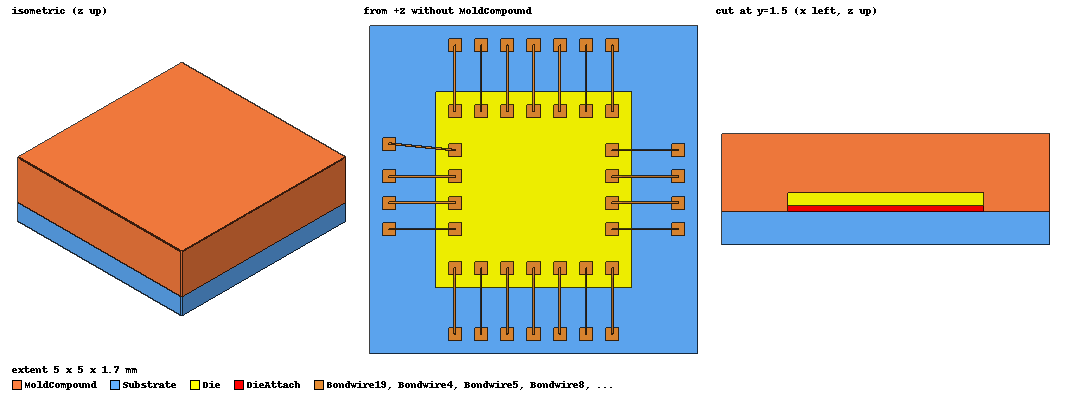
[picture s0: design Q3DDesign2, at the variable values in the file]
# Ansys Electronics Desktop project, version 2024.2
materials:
  Al-Extruded
  air: permittivity=1.0006 permeability=1.0000004
  vacuum: permittivity=1
  copper: permeability=0.999991 conductivity=58000000
  silicon: permittivity=11.9
  Sheldahl ComClad HF (tm): permittivity=2.6 dielectric_loss_tangent=0.0033
  FR4_epoxy: permittivity=4.4 dielectric_loss_tangent=0.02
  epoxy_Kevlar_xy: permittivity=3.6
  modified_epoxy: permittivity=4.2 dielectric_loss_tangent=0.02
  gold: permeability=0.99996 conductivity=41000000
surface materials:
  Steel-oxidised-surface

design Q3DDesign2 (Q3D Extractor, model units mm)
options: SParamCalcMethod=EqTransLine Calculate_Lossy_Dielectrics
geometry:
  Die [silicon] = rectangle(corner=(0mm, 0mm, 0mm), x_size=3mm, y_size=3mm)
  Die.thicken(0.2mm)
  Substrate [FR4_epoxy] = rectangle(corner=(-1mm, -1mm, -0.1mm), x_size=5mm, y_size=5mm)
  Substrate.thicken(-0.5mm)
  DieAttach [modified_epoxy] = rectangle(corner=(0mm, 0mm, 0mm), x_size=3mm, y_size=3mm)
  DieAttach.thicken(-0.1mm)
  DieBondpad1 [copper] = rectangle(corner=(0.2mm, 0.2mm, 0.2mm), x_size=0.2mm, y_size=0.2mm)
  DieBondpad1.thicken(0.005mm)
  SubstrateBondPad1 [copper] = rectangle(corner=(0.2mm, -0.8mm, -0.1mm), x_size=0.2mm, y_size=0.2mm)
  SubstrateBondPad1.thicken(0.01mm)
  Bondwire1 [gold] = bondwire(WireType=JEDEC_4Points WireDiameter=0.025mm NumSides=6 XPadPos=0.3mm YPadPos=0.3mm ZPadPos=0.205mm XDir=-5.5511151e-17mm YDir=-1mm ZDir=0mm Distance=1mm h1=0.2mm h2=0.295mm alpha=80deg beta=0 WhichAxis=Z)
  DieBondPad2 [copper] = rectangle(corner=(0.6mm, 0.2mm, 0.2mm), x_size=0.2mm, y_size=0.2mm)
  DieBondPad3 [copper] = rectangle(corner=(1mm, 0.2mm, 0.2mm), x_size=0.2mm, y_size=0.2mm)
  DieBondPad4 [copper] = rectangle(corner=(1.4mm, 0.2mm, 0.2mm), x_size=0.2mm, y_size=0.2mm)
  DieBondPad5 [copper] = rectangle(corner=(1.8mm, 0.2mm, 0.2mm), x_size=0.2mm, y_size=0.2mm)
  DieBondPad6 [copper] = rectangle(corner=(2.2mm, 0.2mm, 0.2mm), x_size=0.2mm, y_size=0.2mm)
  DieBondPad7 [copper] = rectangle(corner=(2.6mm, 0.2mm, 0.2mm), x_size=0.2mm, y_size=0.2mm)
  [DieBondPad2..DieBondPad7].thicken(0.005mm)
  SubstrateBondPad2 [copper] = rectangle(corner=(0.6mm, -0.8mm, -0.1mm), x_size=0.2mm, y_size=0.2mm)
  SubstrateBondPad3 [copper] = rectangle(corner=(1mm, -0.8mm, -0.1mm), x_size=0.2mm, y_size=0.2mm)
  SubstrateBondPad4 [copper] = rectangle(corner=(1.4mm, -0.8mm, -0.1mm), x_size=0.2mm, y_size=0.2mm)
  SubstrateBondPad5 [copper] = rectangle(corner=(1.8mm, -0.8mm, -0.1mm), x_size=0.2mm, y_size=0.2mm)
  SubstrateBondPad6 [copper] = rectangle(corner=(2.2mm, -0.8mm, -0.1mm), x_size=0.2mm, y_size=0.2mm)
  SubstrateBondPad7 [copper] = rectangle(corner=(2.6mm, -0.8mm, -0.1mm), x_size=0.2mm, y_size=0.2mm)
  [SubstrateBondPad2..SubstrateBondPad7].thicken(0.01mm)
  Bondwire2 [gold] = bondwire(WireType=JEDEC_4Points WireDiameter=0.025mm NumSides=6 XPadPos=0.7mm YPadPos=0.3mm ZPadPos=0.205mm XDir=-1.110223e-16mm YDir=-1mm ZDir=0mm Distance=1mm h1=0.2mm h2=0.295mm alpha=80deg beta=0 WhichAxis=Z)
  Bondwire3 [gold] = bondwire(WireType=JEDEC_4Points WireDiameter=0.025mm NumSides=6 XPadPos=1.1mm YPadPos=0.3mm ZPadPos=0.205mm XDir=2.220446e-16mm YDir=-1mm ZDir=0mm Distance=1mm h1=0.2mm h2=0.295mm alpha=80deg beta=0 WhichAxis=Z)
  Bondwire4 [gold] = bondwire(WireType=JEDEC_4Points WireDiameter=0.025mm NumSides=6 XPadPos=1.5mm YPadPos=0.3mm ZPadPos=0.205mm XDir=4.4408921e-16mm YDir=-1mm ZDir=0mm Distance=1mm h1=0.2mm h2=0.295mm alpha=80deg beta=0 WhichAxis=Z)
  Bondwire5 [gold] = bondwire(WireType=JEDEC_4Points WireDiameter=0.025mm NumSides=6 XPadPos=1.9mm YPadPos=0.3mm ZPadPos=0.205mm XDir=4.4408921e-16mm YDir=-1mm ZDir=0mm Distance=1mm h1=0.2mm h2=0.295mm alpha=80deg beta=0 WhichAxis=Z)
  Bondwire6 [gold] = bondwire(WireType=JEDEC_4Points WireDiameter=0.025mm NumSides=6 XPadPos=2.3mm YPadPos=0.3mm ZPadPos=0.205mm XDir=0mm YDir=-1mm ZDir=0mm Distance=1mm h1=0.2mm h2=0.295mm alpha=80deg beta=0 WhichAxis=Z)
  Bondwire7 [gold] = bondwire(WireType=JEDEC_4Points WireDiameter=0.025mm NumSides=6 XPadPos=2.7mm YPadPos=0.3mm ZPadPos=0.205mm XDir=0mm YDir=-1mm ZDir=0mm Distance=1mm h1=0.2mm h2=0.295mm alpha=80deg beta=0 WhichAxis=Z)
  DieBondPad8 [copper] = rectangle(corner=(2.6mm, 0.8mm, 0.2mm), x_size=0.2mm, y_size=0.2mm)
  DieBondPad8.thicken(0.005mm)
  DieBondPad12 [copper] = rectangle(corner=(2.6mm, 2.6mm, 0.2mm), x_size=0.2mm, y_size=0.2mm)
  DieBondPad9 [copper] = rectangle(corner=(2.6mm, 1.2mm, 0.2mm), x_size=0.2mm, y_size=0.2mm)
  DieBondPad10 [copper] = rectangle(corner=(2.6mm, 1.6mm, 0.2mm), x_size=0.2mm, y_size=0.2mm)
  DieBondPad11 [copper] = rectangle(corner=(2.6mm, 2mm, 0.2mm), x_size=0.2mm, y_size=0.2mm)
  [DieBondPad9..DieBondPad12].thicken(0.005mm)
  DieBondPad22 [copper] = rectangle(corner=(0.2mm, 0.8mm, 0.2mm), x_size=0.2mm, y_size=0.2mm)
  DieBondPad21 [copper] = rectangle(corner=(0.2mm, 1.2mm, 0.2mm), x_size=0.2mm, y_size=0.2mm)
  DieBondPad20 [copper] = rectangle(corner=(0.2mm, 1.6mm, 0.2mm), x_size=0.2mm, y_size=0.2mm)
  DieBondPad19 [copper] = rectangle(corner=(0.2mm, 2mm, 0.2mm), x_size=0.2mm, y_size=0.2mm)
  DieBondPad18 [copper] = rectangle(corner=(0.2mm, 2.6mm, 0.2mm), x_size=0.2mm, y_size=0.2mm)
  DieBondPad17 [copper] = rectangle(corner=(0.6mm, 2.6mm, 0.2mm), x_size=0.2mm, y_size=0.2mm)
  DieBondPad16 [copper] = rectangle(corner=(1mm, 2.6mm, 0.2mm), x_size=0.2mm, y_size=0.2mm)
  DieBondPad15 [copper] = rectangle(corner=(1.4mm, 2.6mm, 0.2mm), x_size=0.2mm, y_size=0.2mm)
  DieBondPad14 [copper] = rectangle(corner=(1.8mm, 2.6mm, 0.2mm), x_size=0.2mm, y_size=0.2mm)
  DieBondPad13 [copper] = rectangle(corner=(2.2mm, 2.6mm, 0.2mm), x_size=0.2mm, y_size=0.2mm)
  [DieBondPad13..DieBondPad22].thicken(0.005mm)
  SubstrateBondPad8 [copper] = rectangle(corner=(3.6mm, 0.8mm, -0.1mm), x_size=0.2mm, y_size=0.2mm)
  SubstrateBondPad9 [copper] = rectangle(corner=(3.6mm, 1.2mm, -0.1mm), x_size=0.2mm, y_size=0.2mm)
  SubstrateBondPad10 [copper] = rectangle(corner=(3.6mm, 1.6mm, -0.1mm), x_size=0.2mm, y_size=0.2mm)
  SubstrateBondPad11 [copper] = rectangle(corner=(3.6mm, 2mm, -0.1mm), x_size=0.2mm, y_size=0.2mm)
  SubstrateBondPad12 [copper] = rectangle(corner=(2.6mm, 3.6mm, -0.1mm), x_size=0.2mm, y_size=0.2mm)
  SubstrateBondPad13 [copper] = rectangle(corner=(2.2mm, 3.6mm, -0.1mm), x_size=0.2mm, y_size=0.2mm)
  SubstrateBondPad14 [copper] = rectangle(corner=(1.8mm, 3.6mm, -0.1mm), x_size=0.2mm, y_size=0.2mm)
  SubstrateBondPad15 [copper] = rectangle(corner=(1.4mm, 3.6mm, -0.1mm), x_size=0.2mm, y_size=0.2mm)
  SubstrateBondPad16 [copper] = rectangle(corner=(1mm, 3.6mm, -0.1mm), x_size=0.2mm, y_size=0.2mm)
  SubstrateBondPad17 [copper] = rectangle(corner=(0.6mm, 3.6mm, -0.1mm), x_size=0.2mm, y_size=0.2mm)
  SubstrateBondPad18 [copper] = rectangle(corner=(0.2mm, 3.6mm, -0.1mm), x_size=0.2mm, y_size=0.2mm)
  SubstrateBondPad22 [copper] = rectangle(corner=(-0.8mm, 0.8mm, -0.1mm), x_size=0.2mm, y_size=0.2mm)
  SubstrateBondPad21 [copper] = rectangle(corner=(-0.8mm, 1.2mm, -0.1mm), x_size=0.2mm, y_size=0.2mm)
  SubstrateBondPad20 [copper] = rectangle(corner=(-0.8mm, 1.6mm, -0.1mm), x_size=0.2mm, y_size=0.2mm)
  SubstrateBondPad19 [copper] = rectangle(corner=(-0.8mm, 2.1mm, -0.1mm), x_size=0.2mm, y_size=0.2mm)
  [SubstrateBondPad8..SubstrateBondPad22].thicken(0.01mm)
  Bondwire8 [gold] = bondwire(WireType=JEDEC_4Points WireDiameter=0.025mm NumSides=6 XPadPos=2.7mm YPadPos=0.9mm ZPadPos=0.205mm XDir=1mm YDir=-2.220446e-16mm ZDir=0mm Distance=1mm h1=0.2mm h2=0.295mm alpha=80deg beta=0 WhichAxis=Z)
  Bondwire9 [gold] = bondwire(WireType=JEDEC_4Points WireDiameter=0.025mm NumSides=6 XPadPos=2.7mm YPadPos=1.3mm ZPadPos=0.205mm XDir=1mm YDir=4.4408921e-16mm ZDir=0mm Distance=1mm h1=0.2mm h2=0.295mm alpha=80deg beta=0 WhichAxis=Z)
  Bondwire10 [gold] = bondwire(WireType=JEDEC_4Points WireDiameter=0.025mm NumSides=6 XPadPos=2.7mm YPadPos=1.7mm ZPadPos=0.205mm XDir=1mm YDir=-2.220446e-16mm ZDir=0mm Distance=1mm h1=0.2mm h2=0.295mm alpha=80deg beta=0 WhichAxis=Z)
  Bondwire11 [gold] = bondwire(WireType=JEDEC_4Points WireDiameter=0.025mm NumSides=6 XPadPos=2.7mm YPadPos=2.1mm ZPadPos=0.205mm XDir=1mm YDir=0mm ZDir=0mm Distance=1mm h1=0.2mm h2=0.295mm alpha=80deg beta=0 WhichAxis=Z)
  Bondwire12 [gold] = bondwire(WireType=JEDEC_4Points WireDiameter=0.025mm NumSides=6 XPadPos=2.7mm YPadPos=2.7mm ZPadPos=0.205mm XDir=0mm YDir=1mm ZDir=0mm Distance=1mm h1=0.2mm h2=0.295mm alpha=80deg beta=0 WhichAxis=Z)
  Bondwire13 [gold] = bondwire(WireType=JEDEC_4Points WireDiameter=0.025mm NumSides=6 XPadPos=2.3mm YPadPos=2.7mm ZPadPos=0.205mm XDir=0mm YDir=1mm ZDir=0mm Distance=1mm h1=0.2mm h2=0.295mm alpha=80deg beta=0 WhichAxis=Z)
  Bondwire14 [gold] = bondwire(WireType=JEDEC_4Points WireDiameter=0.025mm NumSides=6 XPadPos=1.9mm YPadPos=2.7mm ZPadPos=0.205mm XDir=0mm YDir=1mm ZDir=0mm Distance=1mm h1=0.2mm h2=0.295mm alpha=80deg beta=0 WhichAxis=Z)
  Bondwire15 [gold] = bondwire(WireType=JEDEC_4Points WireDiameter=0.025mm NumSides=6 XPadPos=1.5mm YPadPos=2.7mm ZPadPos=0.205mm XDir=0mm YDir=1mm ZDir=0mm Distance=1mm h1=0.2mm h2=0.295mm alpha=80deg beta=0 WhichAxis=Z)
  Bondwire16 [gold] = bondwire(WireType=JEDEC_4Points WireDiameter=0.025mm NumSides=6 XPadPos=1.1mm YPadPos=2.7mm ZPadPos=0.205mm XDir=-2.220446e-16mm YDir=1mm ZDir=0mm Distance=1mm h1=0.2mm h2=0.295mm alpha=80deg beta=0 WhichAxis=Z)
  Bondwire17 [gold] = bondwire(WireType=JEDEC_4Points WireDiameter=0.025mm NumSides=6 XPadPos=0.7mm YPadPos=2.7mm ZPadPos=0.205mm XDir=0mm YDir=1mm ZDir=0mm Distance=1mm h1=0.2mm h2=0.295mm alpha=80deg beta=0 WhichAxis=Z)
  Bondwire18 [gold] = bondwire(WireType=JEDEC_4Points WireDiameter=0.025mm NumSides=6 XPadPos=0.3mm YPadPos=2.7mm ZPadPos=0.205mm XDir=5.5511151e-17mm YDir=1mm ZDir=0mm Distance=1mm h1=0.2mm h2=0.295mm alpha=80deg beta=0 WhichAxis=Z)
  Bondwire19 [gold] = bondwire(WireType=JEDEC_4Points WireDiameter=0.025mm NumSides=6 XPadPos=0.3mm YPadPos=2.1mm ZPadPos=0.205mm XDir=-1mm YDir=0.1mm ZDir=0mm Distance=1.0049876mm h1=0.2mm h2=0.295mm alpha=80deg beta=0 WhichAxis=Z)
  Bondwire20 [gold] = bondwire(WireType=JEDEC_4Points WireDiameter=0.025mm NumSides=6 XPadPos=0.3mm YPadPos=1.7mm ZPadPos=0.205mm XDir=-1mm YDir=0mm ZDir=0mm Distance=1mm h1=0.2mm h2=0.295mm alpha=80deg beta=0 WhichAxis=Z)
  Bondwire21 [gold] = bondwire(WireType=JEDEC_4Points WireDiameter=0.025mm NumSides=6 XPadPos=0.3mm YPadPos=1.3mm ZPadPos=0.205mm XDir=-1mm YDir=0mm ZDir=0mm Distance=1mm h1=0.2mm h2=0.295mm alpha=80deg beta=0 WhichAxis=Z)
  Bondwire22 [gold] = bondwire(WireType=JEDEC_4Points WireDiameter=0.025mm NumSides=6 XPadPos=0.3mm YPadPos=0.9mm ZPadPos=0.205mm XDir=-1mm YDir=2.220446e-16mm ZDir=0mm Distance=1mm h1=0.2mm h2=0.295mm alpha=80deg beta=0 WhichAxis=Z)
  MoldCompound [epoxy_Kevlar_xy] = rectangle(corner=(-1mm, -1mm, -0.1mm), x_size=5mm, y_size=5mm)
  MoldCompound.thicken(1.2mm)
